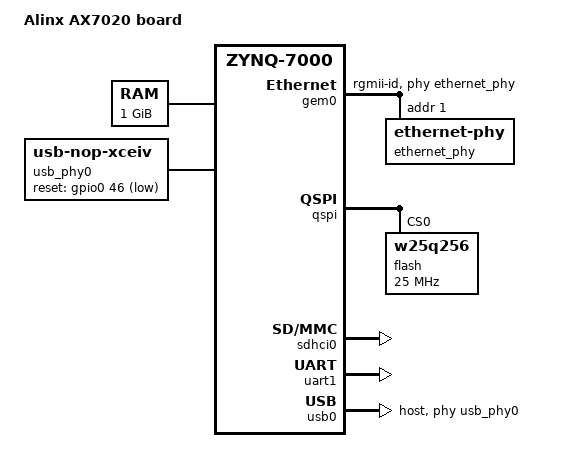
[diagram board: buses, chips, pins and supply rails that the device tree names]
// SPDX-License-Identifier: GPL-2.0+
/*
 * Alinx AX7020 (XC7Z020-2CLG400)
 *
 * PS configuration derived from the Alinx linux_base Vivado project
 * (design_1.hwh) and the AX7020 V2.0 schematic:
 *   DDR3   2x MT41J256M16, 32-bit, 533 MHz  -> 1 GiB
 *   QSPI   W25Q256 single, MIO 1..6
 *   UART1  MIO 48..49 (CP2102 USB-UART)
 *   GEM0   RGMII MIO 16..27, MDIO MIO 52..53, RTL8211E-VL at PHY addr 1
 *   SD0    MIO 40..45, card detect MIO 47
 *   USB0   ULPI MIO 28..39, reset MIO 46 (active low)
 */
/dts-v1/;
#include "zynq-7000.dtsi"

/ {
	model = "Alinx AX7020 board";
	compatible = "alinx,zynq-ax7020", "xlnx,zynq-7000";

	aliases {
		ethernet0 = &gem0;
		serial0 = &uart1;
		spi0 = &qspi;
		mmc0 = &sdhci0;
	};

	memory@0 {
		device_type = "memory";
		reg = <0x0 0x40000000>;
	};

	chosen {
		bootargs = "";
		stdout-path = "serial0:115200n8";
	};

	usb_phy0: phy0 {
		#phy-cells = <0>;
		compatible = "usb-nop-xceiv";
		reset-gpios = <&gpio0 46 1>;
	};
};

&clkc {
	ps-clk-frequency = <33333333>;
};

&gem0 {
	status = "okay";
	phy-mode = "rgmii-id";
	phy-handle = <&ethernet_phy>;

	ethernet_phy: ethernet-phy@1 {
		reg = <1>;
	};
};

&qspi {
	bootph-all;
	status = "okay";
	num-cs = <1>;
	flash@0 {
		bootph-all;
		compatible = "w25q256", "jedec,spi-nor";
		reg = <0>;
		/* Quad read (0x6B) comes back 3 bytes offset in SPL on this
		 * board, which corrupts the image u-boot-spl loads from
		 * QSPI. Plain single-bit READ is correct. */
		spi-tx-bus-width = <1>;
		spi-rx-bus-width = <1>;
		/* 200 MHz QSPI ref clock is halved in powers of two: 50 MHz reads
		 * corrupt on this board, 25 MHz is the proven-good rate. */
		spi-max-frequency = <25000000>;
	};
};

&sdhci0 {
	bootph-all;
	status = "okay";
};

&uart1 {
	bootph-all;
	status = "okay";
};

&usb0 {
	status = "okay";
	dr_mode = "host";
	usb-phy = <&usb_phy0>;
};
